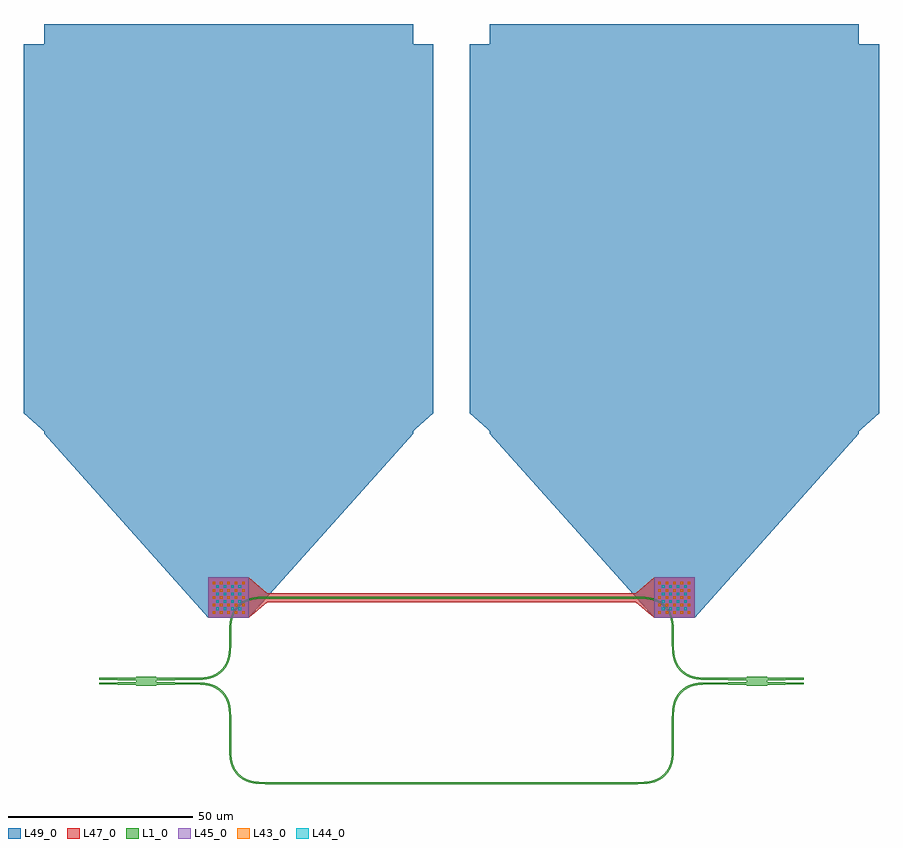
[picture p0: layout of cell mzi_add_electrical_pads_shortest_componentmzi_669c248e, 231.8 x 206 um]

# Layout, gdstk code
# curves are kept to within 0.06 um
from math import pi, radians
import gdstk
lib = gdstk.Library(unit=1e-6, precision=1e-09)
def R(c, l, rs):  # rectangles x0, y0, x1, y1
    for r in rs: c.add(gdstk.rectangle(r[:2], r[2:], *l))
def P(c, l, *ps):  # polygons
    for p in ps: c.add(gdstk.Polygon(p, *l))
L1_0 = (1, 0)
L43_0 = (43, 0)
L44_0 = (44, 0)
L45_0 = (45, 0)
L47_0 = (47, 0)
L49_0 = (49, 0)

mmi2x2 = lib.new_cell('mmi2x2')
R(mmi2x2, L1_0, [(0,-1.25,5.5,1.25)])
P(mmi2x2, L1_0, [(-10,-0.375),(0,-0.125),(0,-1.125),(-10,-0.875)],
  [(-10,0.875),(0,1.125),(0,0.125),(-10,0.375)],
  [(15.5,0.375),(5.5,0.125),(5.5,1.125),(15.5,0.875)],
  [(15.5,-0.875),(5.5,-1.125),(5.5,-0.125),(15.5,-0.375)])

bend_euler = lib.new_cell('bend_euler')
P(bend_euler, L1_0, [(0,-0.25),(2.795,-0.158),(4.746,0.203),(5.688,0.543),(6.455,0.934),(7.285,1.5),(7.928,2.072),(8.5,2.715),(9.066,3.545),(9.457,4.312),(9.797,5.254),(10.158,7.205),(10.25,10),(9.75,10),(9.647,7.119),(9.48,6.048),(9.194,5.01),(8.495,3.569),(7.575,2.425),(6.431,1.505),(4.99,0.806),(3.952,0.52),(2.881,0.353),(0,0.25)])

straight_length7p0 = lib.new_cell('straight_length7p0')
R(straight_length7p0, L1_0, [(0,-0.25,7,0.25)])

straight_length100 = lib.new_cell('straight_length100')
R(straight_length100, L1_0, [(0,-0.25,100,0.25)])

straight_length2p0 = lib.new_cell('straight_length2p0')
R(straight_length2p0, L1_0, [(0,-0.25,2,0.25)])

straight_length0p1 = lib.new_cell('straight_length0p1')
R(straight_length0p1, L1_0, [(0,-0.25,0.1,0.25)])

straight_eb3a9936 = lib.new_cell('straight_eb3a9936')
R(straight_eb3a9936, L1_0, [(0,-0.25,31.9,0.25)])
R(straight_eb3a9936, L47_0, [(0,-1.25,31.9,1.25)])

straight_dd206e18 = lib.new_cell('straight_dd206e18')
R(straight_dd206e18, L1_0, [(0,-0.25,30,0.25)])
R(straight_dd206e18, L47_0, [(0,-1.25,30,1.25)])

straight_9b995e61 = lib.new_cell('straight_9b995e61')
R(straight_9b995e61, L1_0, [(0,-0.25,6,0.25)])
R(straight_9b995e61, L47_0, [(0,-1.25,6,1.25)])

component_sequence_dceb0 = lib.new_cell('component_sequence_dceb053b')
component_sequence_dceb0.add(gdstk.Reference(straight_length0p1, (0,0)))
component_sequence_dceb0.add(gdstk.Reference(straight_eb3a9936, (0.1,0)))
component_sequence_dceb0.add(gdstk.Reference(straight_dd206e18, (32,0)))
component_sequence_dceb0.add(gdstk.Reference(straight_9b995e61, (62,0)))
component_sequence_dceb0.add(gdstk.Reference(straight_eb3a9936, (68,0)))
component_sequence_dceb0.add(gdstk.Reference(straight_length0p1, (99.9,0)))

compass_d8224c77 = lib.new_cell('compass_d8224c77')
R(compass_d8224c77, L47_0, [(-5.5,-5.5,5.5,5.5)])

compass_layerm2_size11p0 = lib.new_cell('compass_layerM2_size11p0__11p0')
R(compass_layerm2_size11p0, L45_0, [(-5.5,-5.5,5.5,5.5)])

compass_layermtop_size11 = lib.new_cell('compass_layerMTOP_size11p0__11p0')
R(compass_layermtop_size11, L49_0, [(-5.5,-5.5,5.5,5.5)])

via_enclosure2_layervia1 = lib.new_cell('via_enclosure2_layerVIA1')
R(via_enclosure2_layervia1, L44_0, [(-0.35,-0.35,0.35,0.35)])

via_layervia2 = lib.new_cell('via_layerVIA2')
R(via_layervia2, L43_0, [(-0.35,-0.35,0.35,0.35)])

via_stack_7bdb8e37 = lib.new_cell('via_stack_7bdb8e37')
via_stack_7bdb8e37.add(gdstk.Reference(compass_d8224c77, (0,0)))
via_stack_7bdb8e37.add(gdstk.Reference(compass_layerm2_size11p0, (0,0)))
via_stack_7bdb8e37.add(gdstk.Reference(compass_layermtop_size11, (0,0)))
r = gdstk.Reference(via_enclosure2_layervia1, (-3,-3)); r.repetition = gdstk.Repetition(4, 4, v1=(2,0), v2=(0,2)); via_stack_7bdb8e37.add(r)
r = gdstk.Reference(via_layervia2, (-4,-4)); r.repetition = gdstk.Repetition(5, 5, v1=(2,0), v2=(0,2)); via_stack_7bdb8e37.add(r)

taper_f5fc1843 = lib.new_cell('taper_f5fc1843')
P(taper_f5fc1843, L47_0, [(0,5.5),(5,1.25),(5,-1.25),(0,-5.5)])

straight_heater_metal_un = lib.new_cell('straight_heater_metal_undercut_f4fdc38b')
straight_heater_metal_un.add(gdstk.Reference(component_sequence_dceb0, (0,0)))
straight_heater_metal_un.add(gdstk.Reference(via_stack_7bdb8e37, (-10.4,0)))
straight_heater_metal_un.add(gdstk.Reference(via_stack_7bdb8e37, (110.4,0)))
straight_heater_metal_un.add(gdstk.Reference(taper_f5fc1843, (-4.9,0)))
straight_heater_metal_un.add(gdstk.Reference(taper_f5fc1843, (104.9,0), rotation=pi))

bend_euler_a459ac5d = lib.new_cell('bend_euler_a459ac5d')
P(bend_euler_a459ac5d, L1_0, [(0,-0.25),(2.795,-0.158),(4.746,0.203),(5.688,0.543),(6.455,0.934),(7.285,1.5),(7.928,2.072),(8.5,2.715),(9.066,3.545),(9.457,4.312),(9.797,5.254),(10.158,7.205),(10.25,10),(9.75,10),(9.647,7.119),(9.48,6.048),(9.194,5.01),(8.495,3.569),(7.575,2.425),(6.431,1.505),(4.99,0.806),(3.952,0.52),(2.881,0.353),(0,0.25)])

straight_b69bcf2d = lib.new_cell('straight_b69bcf2d')
R(straight_b69bcf2d, L1_0, [(0,-0.25,0.01,0.25)])

straight_29c75779 = lib.new_cell('straight_29c75779')
R(straight_29c75779, L1_0, [(0,-0.25,2,0.25)])

straight_edf1f094 = lib.new_cell('straight_edf1f094')
R(straight_edf1f094, L1_0, [(0,-0.25,7,0.25)])

mzi_669c248e = lib.new_cell('mzi_669c248e')
mzi_669c248e.add(gdstk.Reference(mmi2x2, (0,0)))
mzi_669c248e.add(gdstk.Reference(mmi2x2, (171.02,0), rotation=pi, x_reflection=True))
mzi_669c248e.add(gdstk.Reference(bend_euler, (15.5,-0.625), x_reflection=True))
mzi_669c248e.add(gdstk.Reference(straight_length7p0, (25.5,-10.625), rotation=3*pi/2))
mzi_669c248e.add(gdstk.Reference(bend_euler, (25.5,-17.625), rotation=3*pi/2))
mzi_669c248e.add(gdstk.Reference(straight_length100, (35.5,-27.625)))
mzi_669c248e.add(gdstk.Reference(bend_euler, (15.5,0.625)))
mzi_669c248e.add(gdstk.Reference(straight_length2p0, (25.5,10.625), rotation=pi/2))
mzi_669c248e.add(gdstk.Reference(bend_euler, (35.5,22.625), rotation=pi))
mzi_669c248e.add(gdstk.Reference(straight_heater_metal_un, (35.5,22.625)))
mzi_669c248e.add(gdstk.Reference(bend_euler_a459ac5d, (135.51,22.625), x_reflection=True))
mzi_669c248e.add(gdstk.Reference(bend_euler_a459ac5d, (145.51,10.625), rotation=3*pi/2))
mzi_669c248e.add(gdstk.Reference(straight_b69bcf2d, (135.5,22.625)))
mzi_669c248e.add(gdstk.Reference(straight_29c75779, (145.51,12.625), rotation=3*pi/2))
mzi_669c248e.add(gdstk.Reference(straight_b69bcf2d, (155.51,0.625)))
mzi_669c248e.add(gdstk.Reference(bend_euler_a459ac5d, (135.51,-27.625)))
mzi_669c248e.add(gdstk.Reference(bend_euler_a459ac5d, (145.51,-10.625), rotation=pi/2, x_reflection=True))
mzi_669c248e.add(gdstk.Reference(straight_b69bcf2d, (135.5,-27.625)))
mzi_669c248e.add(gdstk.Reference(straight_edf1f094, (145.51,-17.625), rotation=pi/2))
mzi_669c248e.add(gdstk.Reference(straight_b69bcf2d, (155.51,-0.625)))

pad = lib.new_cell('pad')
R(pad, L49_0, [(-50,-50,50,50)])

route_quad_7878978f = lib.new_cell('route_quad_7878978f')
P(route_quad_7878978f, L49_0, [(-30.4,72.625),(69.6,72.625),(19.6,17.125),(19.6,28.125)])

route_quad_852eefe6 = lib.new_cell('route_quad_852eefe6')
P(route_quad_852eefe6, L49_0, [(90.4,72.625),(190.4,72.625),(140.4,17.125),(140.4,28.125)])

route_quad_38d41d28 = lib.new_cell('route_quad_38d41d28')
P(route_quad_38d41d28, L49_0, [(19.6,28.125),(-24.9,78.125),(75.1,78.125),(30.6,28.125)])

route_quad_f4a1c642 = lib.new_cell('route_quad_f4a1c642')
P(route_quad_f4a1c642, L49_0, [(140.4,28.125),(95.9,78.125),(195.9,78.125),(151.4,28.125)])

route_quad_b55b0e2b = lib.new_cell('route_quad_b55b0e2b')
P(route_quad_b55b0e2b, L49_0, [(-19.4,72.625),(80.6,72.625),(30.6,28.125),(30.6,17.125)])

route_quad_7cb4b030 = lib.new_cell('route_quad_7cb4b030')
P(route_quad_7cb4b030, L49_0, [(101.4,72.625),(201.4,72.625),(151.4,28.125),(151.4,17.125)])

route_quad_3dafa38c = lib.new_cell('route_quad_3dafa38c')
P(route_quad_3dafa38c, L49_0, [(140.4,17.125),(95.9,67.125),(195.9,67.125),(151.4,17.125)])

route_quad_6a658a8b = lib.new_cell('route_quad_6a658a8b')
P(route_quad_6a658a8b, L49_0, [(19.6,17.125),(-24.9,67.125),(75.1,67.125),(30.6,17.125)])

mzi_add_electrical_pads_ = lib.new_cell('mzi_add_electrical_pads_shortest_componentmzi_669c248e')
mzi_add_electrical_pads_.add(gdstk.Reference(mzi_669c248e, (0,0)))
mzi_add_electrical_pads_.add(gdstk.Reference(pad, (19.6,122.625)))
mzi_add_electrical_pads_.add(gdstk.Reference(route_quad_7878978f, (0,0)))
mzi_add_electrical_pads_.add(gdstk.Reference(pad, (140.4,122.625)))
mzi_add_electrical_pads_.add(gdstk.Reference(route_quad_852eefe6, (0,0)))
mzi_add_electrical_pads_.add(gdstk.Reference(pad, (25.1,128.125)))
mzi_add_electrical_pads_.add(gdstk.Reference(route_quad_38d41d28, (0,0)))
mzi_add_electrical_pads_.add(gdstk.Reference(pad, (145.9,128.125)))
mzi_add_electrical_pads_.add(gdstk.Reference(route_quad_f4a1c642, (0,0)))
mzi_add_electrical_pads_.add(gdstk.Reference(pad, (30.6,122.625)))
mzi_add_electrical_pads_.add(gdstk.Reference(route_quad_b55b0e2b, (0,0)))
mzi_add_electrical_pads_.add(gdstk.Reference(pad, (151.4,122.625)))
mzi_add_electrical_pads_.add(gdstk.Reference(route_quad_7cb4b030, (0,0)))
mzi_add_electrical_pads_.add(gdstk.Reference(pad, (145.9,117.125)))
mzi_add_electrical_pads_.add(gdstk.Reference(route_quad_3dafa38c, (0,0)))
mzi_add_electrical_pads_.add(gdstk.Reference(pad, (25.1,117.125)))
mzi_add_electrical_pads_.add(gdstk.Reference(route_quad_6a658a8b, (0,0)))

lib.write_gds('mzi_add_electrical_pads_shortest_componentmzi_669c248e.gds')
